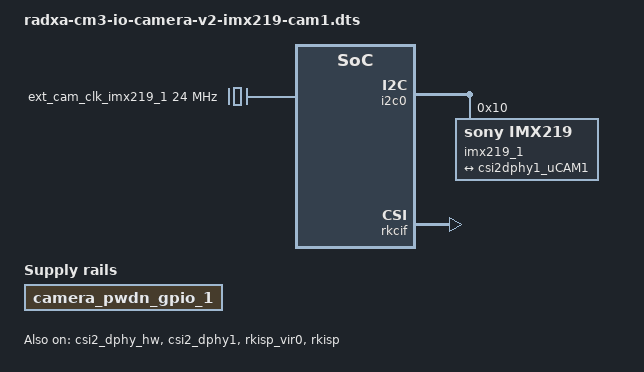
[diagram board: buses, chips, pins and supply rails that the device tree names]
/dts-v1/;
/plugin/;

#include <dt-bindings/gpio/gpio.h>
#include <dt-bindings/pinctrl/rockchip.h>

/ {
	metadata {
		title = "Enable Raspberry Pi Camera v2 on CM3 IO v1.34+ CAM1";
		compatible = "radxa,cm3-io";
		category = "camera";
		exclusive = "csi2_dphy1";
		description = "Enable Raspberry Pi Camera v2 on CM3 IO v1.34+ CAM1.";
	};
};

&{/} {
	ext_cam_clk_imx219_1: ext-cam-clk-imx219-1 {
		status = "okay";
		compatible = "fixed-clock";
		clock-frequency = <24000000>;
		clock-output-names = "ext_cam_clk_imx219_1";
		#clock-cells = <0>;
	};

	camera_pwdn_gpio_1: camera-pwdn-gpio-1 {
		status = "okay";
		compatible = "regulator-fixed";
		regulator-name = "camera_pwdn_gpio_1";
		regulator-always-on;
		regulator-boot-on;
		enable-active-high;
		pwdn-gpios = <&gpio4 RK_PC1 GPIO_ACTIVE_HIGH>;
		pinctrl-names = "default";
		pinctrl-0 = <&cam_pwdn_gpio_1>;
	};
};

&i2c0 {
	status = "okay";
	pinctrl-names = "default";
	pinctrl-0 = <&i2c0_xfer>;

	#address-cells = <1>;
	#size-cells = <0>;

	imx219_1: imx219-1@10 {
		status = "okay";
		compatible = "sony,imx219";
		reg = <0x10>;

		clocks = <&ext_cam_clk_imx219_1>;
		clock-names = "ext_cam_clk_imx219_1";

		rotation = <180>;

		rockchip,camera-module-index = <0>;
		rockchip,camera-module-facing = "front";
		rockchip,camera-module-name = "rpi-camera-v2";
		rockchip,camera-module-lens-name = "default";

		port {
			imx219_out_1: endpoint {
				remote-endpoint = <&csi2dphy1_uCAM1>;
				data-lanes = <1 2>;
			};
		};
	};
};

&csi2_dphy_hw {
	status = "okay";
};

&csi2_dphy0 {
	status = "disabled";
};

&csi2_dphy1 {
	status = "okay";

	ports {
		#address-cells = <1>;
		#size-cells = <0>;

		port@0 {
			reg = <0>;
			#address-cells = <1>;
			#size-cells = <0>;

			csi2dphy1_uCAM1: endpoint@1 {
				reg = <1>;
				remote-endpoint = <&imx219_out_1>;
				data-lanes = <1 2>;
			};
		};

		port@1 {
			reg = <1>;
			#address-cells = <1>;
			#size-cells = <0>;

			csi2dphy1_out: endpoint@1 {
				reg = <1>;
				remote-endpoint = <&isp0_in>;
			};
		};
	};
};

&rkisp_vir0 {
	status = "okay";

	port {
		#address-cells = <1>;
		#size-cells = <0>;

		isp0_in: endpoint@0 {
			reg = <0>;
			remote-endpoint = <&csi2dphy1_out>;
		};
	};
};

&rkisp {
	status = "okay";
};

&rkisp_mmu {
	status = "okay";
};

&rkcif_mmu {
	status = "okay";
};

&rkcif {
	status = "okay";
};


&pinctrl {
	camera {
		cam_pwdn_gpio_1: cam-pwdn-gpio-1 {
			rockchip,pins = <4 RK_PC1 RK_FUNC_GPIO &pcfg_pull_up>;
		};
	};
};
